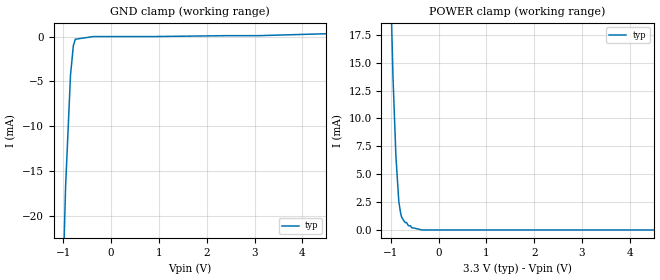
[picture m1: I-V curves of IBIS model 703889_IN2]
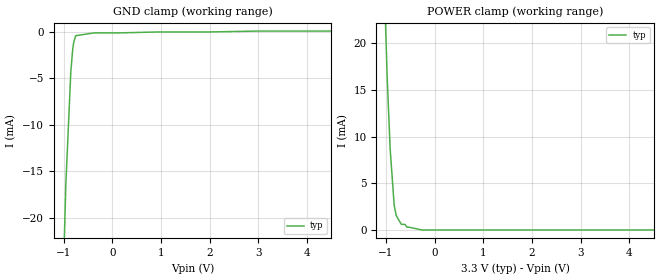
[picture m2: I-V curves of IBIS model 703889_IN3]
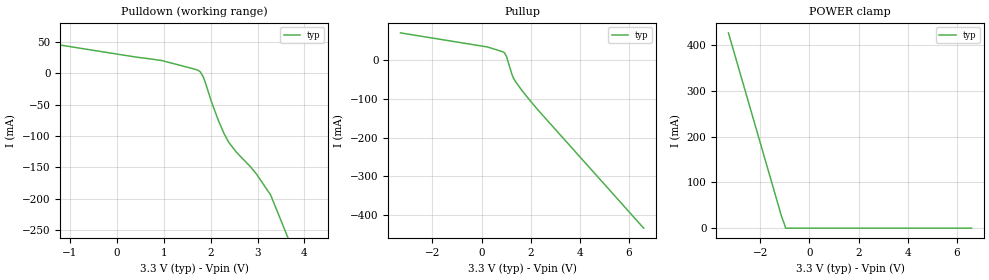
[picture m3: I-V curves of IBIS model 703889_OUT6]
| YOU ARE ONLY AUTHORIZED TO USE THIS SOFTWARE
| ACCORDING TO LICENSOR'S LICENSE RESTRICTIONS.
[IBIS Ver] 3.1
[File Name] mc100lvep16d_33v.ibs
[File Rev] 3.0
[Source] Measured and created by ICX Technology
[Date] 4/4/2003
[Copyright]
| (C) COPYRIGHT 1993-2001
| MENTOR GRAPHICS CORPORATION
| ICX STANDARD LIBRARY, ICX PROJECT MODELING,
| ICX CUSTOM MODELING, ICX VENDOR MODEL
| ALL RIGHTS RESERVED.
| THE FOLLOWING ARE TRADEMARKS OR SERVICE MARKS OF
| MENTOR GRAPHICS CORPORATION:ICX (R), ICX STANDARD
| LIBRARY(R), ICX PROJECT MODELING(R), ICX CUSTOM
| MODELING(R), qualityIBIS(TM), MODELVIEWER(TM),
| AND MODELEDITOR(TM)
| ALL COPIES OF SOFTWARE, INCLUDING BUT NOT LIMITED TO
| ANY MODIFICATIONS, ENHANCEMENTS OR DERIVATIVE WORKS,
| MUST CONTAIN ALL MENTOR GRAPHICS CORPORATION'S
| NOTICES AND LEGENDS, INCLUDING THOSE EMBEDDED IN
| SOFTWARE AND THOSE AFFIXED TO SOFTWARE MEDIUM
| AND CONTAINER, AS RECEIVED FROM MENTOR GRAPHICS
| CORPORATION.
|  ZAP Model Builder 3.1
[Component] MC100LVEP16D_33v
[Manufacturer] OnSemico
[Package]
| variable   typ   min   max
R_pkg  .152ohms NA NA
L_pkg  2.714nH NA NA
C_pkg  .364pF NA NA
[Pin] signal_name  model_name  R_pin  L_pin C_pin
1 NC NC   .154 2.924n .374p
2 D 703889_IN2   .15  2.504n .354p
3 _D 703889_IN3  .15  2.504n .354p
4 VBB POWER   .154 2.924n .374p
5 VEE GND   .154 2.924n .374p
6 _Q 703889_OUT6 .15  2.504n .354p
7 Q 703889_OUT7  .15  2.504n .354p
8 VCC POWER   .154 2.924n .374p
[Diff Pin] inv_pin vdiff tdelay_typ tdelay_min tdelay_max
2 3 275mV NA NA NA
7 6 NA NA NA NA
| Models and submodels in the file (4): 703889_IN2 (Input_ECL), 703889_IN3 (Input_ECL), 703889_OUT6 (Output_ECL), 703889_OUT7 (Output_ECL)
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| (C) COPYRIGHT 1993-2001
| MENTOR GRAPHICS CORPORATION
| ICX STANDARD LIBRARY, ICX PROJECT MODELING,
| ICX CUSTOM MODELING, ICX VENDOR MODEL
| ALL RIGHTS RESERVED.
| THE FOLLOWING ARE TRADEMARKS OR SERVICE MARKS OF
| MENTOR GRAPHICS CORPORATION:ICX (R), ICX STANDARD
| LIBRARY(R), ICX PROJECT MODELING(R), ICX CUSTOM
| MODELING(R), qualityIBIS(TM), MODELVIEWER(TM),
| AND MODELEDITOR(TM)
| ALL COPIES OF SOFTWARE, INCLUDING BUT NOT LIMITED TO
| ANY MODIFICATIONS, ENHANCEMENTS OR DERIVATIVE WORKS,
| MUST CONTAIN ALL MENTOR GRAPHICS CORPORATION'S
| NOTICES AND LEGENDS, INCLUDING THOSE EMBEDDED IN
| SOFTWARE AND THOSE AFFIXED TO SOFTWARE MEDIUM
| AND CONTAINER, AS RECEIVED FROM MENTOR GRAPHICS
| CORPORATION.
| Model Application Version 1.89 2/18/99.
[Model] 703889_IN2
Model_type Input_ECL
Vinl = 1.675V
Vinh = 2.075V
C_comp 1.000pF NA NA
| variable typ   min   max
[Voltage Range] 3.300V NA NA
[GND Clamp Reference] 0.000V NA NA
[POWER Clamp Reference] 3.300V NA NA
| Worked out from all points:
|   GND clamp passes 1 mA (typ) near -0.79 V on its own axis
|   POWER clamp passes 1 mA (typ) near -0.75 V on its own axis
[GND Clamp]
-3.3V     -587.3mA   NA         NA
-1.095V   -44.3mA    NA         NA
-953mV    -16.6mA    NA         NA
-851mV    -4.3mA     NA         NA
-791mV    -1mA       NA         NA
-750mV    -300uA     NA         NA
-375mV    0A         NA         NA
871.5mV   0A         NA         NA
2.432V    100uA      NA         NA
3.09V     100uA      NA         NA
6.6V      633uA      NA         NA
[POWER Clamp]
-3.3V     495.5mA    NA         NA
-1.139V   44.3mA     NA         NA
-956mV    13.72mA    NA         NA
-895mV    6.632mA    NA         NA
-834mV    2.542mA    NA         NA
-794mV    1.448mA    NA         NA
-774mV    1.151mA    NA         NA
-702.5mV  666.1uA    NA         NA
-672mV    666.1uA    NA         NA
-560.5mV  187.7uA    NA         NA
-353.3mV  0A         NA         NA
6.6V      0A         NA         NA
| (C) COPYRIGHT 1993-2001
| MENTOR GRAPHICS CORPORATION
| ICX STANDARD LIBRARY, ICX PROJECT MODELING,
| ICX CUSTOM MODELING, ICX VENDOR MODEL
| ALL RIGHTS RESERVED.
| THE FOLLOWING ARE TRADEMARKS OR SERVICE MARKS OF
| MENTOR GRAPHICS CORPORATION:ICX (R), ICX STANDARD
| LIBRARY(R), ICX PROJECT MODELING(R), ICX CUSTOM
| MODELING(R), qualityIBIS(TM), MODELVIEWER(TM),
| AND MODELEDITOR(TM)
| ALL COPIES OF SOFTWARE, INCLUDING BUT NOT LIMITED TO
| ANY MODIFICATIONS, ENHANCEMENTS OR DERIVATIVE WORKS,
| MUST CONTAIN ALL MENTOR GRAPHICS CORPORATION'S
| NOTICES AND LEGENDS, INCLUDING THOSE EMBEDDED IN
| SOFTWARE AND THOSE AFFIXED TO SOFTWARE MEDIUM
| AND CONTAINER, AS RECEIVED FROM MENTOR GRAPHICS
| CORPORATION.
| Model Application Version 1.89 2/18/99.
[Model] 703889_IN3
Model_type Input_ECL
Vinl = 1.675V
Vinh = 2.075V
C_comp 1.000pF NA NA
| variable typ   min   max
[Voltage Range] 3.300V NA NA
[GND Clamp Reference] 0.000V NA NA
[POWER Clamp Reference] 3.300V NA NA
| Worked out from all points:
|   GND clamp passes 1 mA (typ) near -0.79 V on its own axis
|   POWER clamp passes 1 mA (typ) near -0.73 V on its own axis
[GND Clamp]
-3.3V     -572.3mA   NA         NA
-1.074V   -39.3mA    NA         NA
-953mV    -16.4mA    NA         NA
-851mV    -4.3mA     NA         NA
-811mV    -1.8mA     NA         NA
-791mV    -1.1mA     NA         NA
-750mV    -400uA     NA         NA
-375mV    -100uA     NA         NA
932mV     0A         NA         NA
6.6V      100uA      NA         NA
[POWER Clamp]
-3.3V     482.8mA    NA         NA
-1.139V   43.6mA     NA         NA
-977mV    16.4mA     NA         NA
-916mV    8.7mA      NA         NA
-834mV    2.7mA      NA         NA
-794mV    1.6mA      NA         NA
-754mV    1.2mA      NA         NA
-683mV    600uA      NA         NA
-612mV    600uA      NA         NA
-571mV    300uA      NA         NA
-265mV    0A         NA         NA
6.6V      0A         NA         NA
| (C) COPYRIGHT 1993-2001
| MENTOR GRAPHICS CORPORATION
| ICX STANDARD LIBRARY, ICX PROJECT MODELING,
| ICX CUSTOM MODELING, ICX VENDOR MODEL
| ALL RIGHTS RESERVED.
| THE FOLLOWING ARE TRADEMARKS OR SERVICE MARKS OF
| MENTOR GRAPHICS CORPORATION:ICX (R), ICX STANDARD
| LIBRARY(R), ICX PROJECT MODELING(R), ICX CUSTOM
| MODELING(R), qualityIBIS(TM), MODELVIEWER(TM),
| AND MODELEDITOR(TM)
| ALL COPIES OF SOFTWARE, INCLUDING BUT NOT LIMITED TO
| ANY MODIFICATIONS, ENHANCEMENTS OR DERIVATIVE WORKS,
| MUST CONTAIN ALL MENTOR GRAPHICS CORPORATION'S
| NOTICES AND LEGENDS, INCLUDING THOSE EMBEDDED IN
| SOFTWARE AND THOSE AFFIXED TO SOFTWARE MEDIUM
| AND CONTAINER, AS RECEIVED FROM MENTOR GRAPHICS
| CORPORATION.
| Model Application Version 1.89 2/18/99.
[Model] 703889_OUT6
Model_type Output_ECL
Vref=1.300V
Rref=50.00ohms
Cref=0.000F
Vmeas=1.942V
C_comp 1.000pF NA NA
| variable typ   min   max
[Voltage Range] 3.300V NA NA
[POWER Clamp Reference] 3.300V NA NA
[Pullup Reference] 3.300V NA NA
[Pulldown Reference] 3.300V NA NA
[GND Clamp Reference] 0.000V NA NA
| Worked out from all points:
|   POWER clamp passes 1 mA (typ) near -0.98 V on its own axis
[GND Clamp]
-3.3V     0A         NA         NA
6.6V      0A         NA         NA
[Pulldown]
-3.3V     69.88mA    NA         NA
949mV     20.5mA     NA         NA
1.74V     4.4mA      NA         NA
1.841V    -5.4mA     NA         NA
2.023V    -46.5mA    NA         NA
2.165V    -75.3mA    NA         NA
2.287V    -96.3mA    NA         NA
2.388V    -110.3mA   NA         NA
2.55V     -126mA     NA         NA
2.976V    -160.7mA   NA         NA
3.28V     -194.3mA   NA         NA
6.6V      -808.5mA   NA         NA
[Pullup]
-3.3V     71.33mA    NA         NA
204mV     35.4mA     NA         NA
934mV     19.8mA     NA         NA
1.015V    10.1mA     NA         NA
1.238V    -36.3mA    NA         NA
1.298V    -45.5mA    NA         NA
1.643V    -77.6mA    NA         NA
2.332V    -130.6mA   NA         NA
6.6V      -433.8mA   NA         NA
[POWER Clamp]
-3.3V     427.6mA    NA         NA
-1.134V   25.06mA    NA         NA
-1.012V   7.312mA    NA         NA
-973.1mV  0A         NA         NA
6.6V      0A         NA         NA
[Ramp]
| variable typ min max
dV/dt_r 304.1m/88.32p NA NA
dV/dt_f 304.1m/91.71p NA NA
R_load = 50.00Ohms
